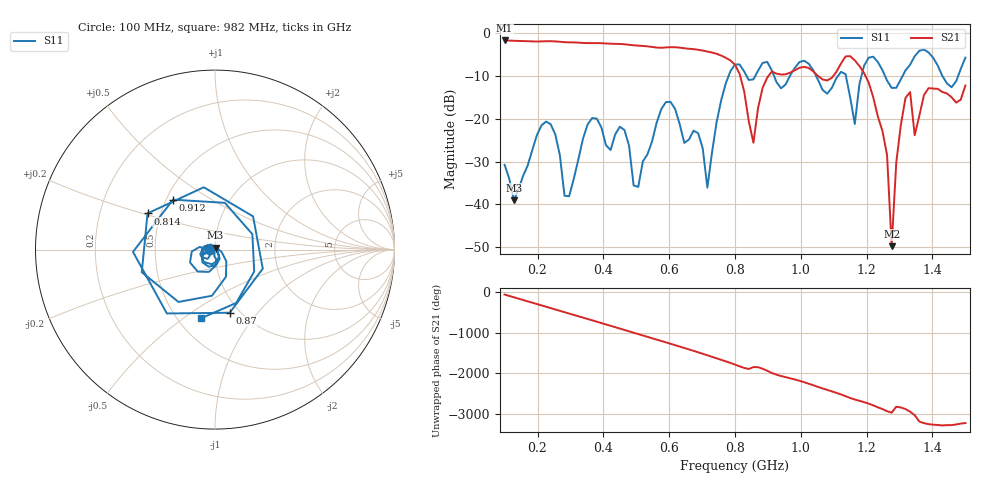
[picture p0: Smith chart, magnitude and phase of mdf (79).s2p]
! NanoVNA-App
! Date: 2025-09-25 15:39:02
! Start: 100MHz Stop: 1,5GHz Points: 101
! S-Parameter data: F S11 S21 S12 S22
# Hz S RI R 50
!  Frequency  S11_Real  S11_Imag  S21_Real  S21_Imag  S12_Real  S12_Imag  S22_Real  S22_Imag
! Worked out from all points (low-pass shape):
!   101 points, 100 MHz to 1.5 GHz, reference 50 ohm
!   highest |S21| = -1.80 dB at 100 MHz (marker M1); lowest = -49.7 dB at 1.276 GHz (marker M2)
!   |S21| within 3 dB of the highest: start of sweep to 739.2 MHz
!   lowest |S11| = -39.0 dB at 128 MHz (marker M3), VSWR 1.02, Z = 50.3 + j1.08 ohm
!   |S11| at or under -10 dB: start of sweep to 780.9 MHz; 1.046 GHz to 1.114 GHz (67.74 MHz wide, 6.27 % of centre); 1.255 GHz to 1.31 GHz (54.33 MHz wide, 4.24 % of centre) (the widest 3 of 7)
!   S12 and S22 are empty: the file has one direction only
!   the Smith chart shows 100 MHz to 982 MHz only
!   S11 on the Smith chart (normalised r, x): 100 MHz: 0.94, -0.01; 814 MHz: 0.42, +0.21; 870 MHz: 0.90, -0.73; 912 MHz: 0.54, +0.35; 982 MHz: 0.65, -0.58
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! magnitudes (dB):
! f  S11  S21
! 100 MHz  -30.8  -1.8
! 128 MHz  -39.0  -1.9
! 212 MHz  -21.6  -2.0
! 282 MHz  -38.0  -2.2
! 338 MHz  -24.7  -2.4
! 464 MHz  -22.6  -2.7
! 506 MHz  -35.9  -3.0
! 576 MHz  -17.8  -3.5
! 716 MHz  -36.1  -4.4
! 800 MHz  -7.4  -7.5
! 814 MHz  -7.4  -9.6
! 856 MHz  -10.9  -25.6
! 870 MHz  -8.8  -17.5
! 912 MHz  -8.8  -9.0
! 982 MHz  -8.1  -8.7
! 1.038 GHz  -8.8  -9.0
! 1.164 GHz  -21.3  -6.4
! 1.206 GHz  -5.8  -11.6
! 1.262 GHz  -11.2  -28.5
! 1.276 GHz  -12.8  -49.7
! 1.318 GHz  -8.8  -15.2
! 1.5 GHz  -5.8  -12.3
